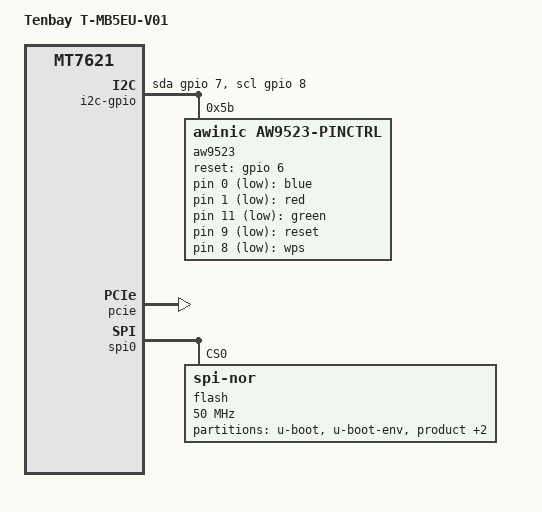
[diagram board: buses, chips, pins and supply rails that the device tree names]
// SPDX-License-Identifier: GPL-2.0-or-later OR MIT

#include "mt7621.dtsi"

#include <dt-bindings/gpio/gpio.h>
#include <dt-bindings/input/input.h>

/ {
	compatible = "tenbay,t-mb5eu-v01", "mediatek,mt7621-soc";
	model = "Tenbay T-MB5EU-V01";

	aliases {
		led-boot = &led_green;
		led-failsafe = &led_red;
		led-running = &led_blue;
		led-upgrade = &led_red;
		label-mac-device = &wan_port;
	};

	chosen {
		bootargs = "console=ttyS0,115200";
		bootargs-override = "console=ttyS0,115200";
	};

	leds {
		compatible = "gpio-leds";
		pinctrl-names = "default";
		pinctrl-0 = <&led_pins>;

		led_blue: blue {
			label = "blue";
			gpios = <&aw9523 0 GPIO_ACTIVE_LOW>;
		};

		led_red: red {
			label = "red";
			gpios = <&aw9523 1 GPIO_ACTIVE_LOW>;
		};

		led_green: green {
			label = "green";
			gpios = <&aw9523 11 GPIO_ACTIVE_LOW>;
		};
	};

	keys {
		compatible = "gpio-keys-polled";
		poll-interval = <50>;
		pinctrl-names = "default";
		pinctrl-0 = <&button_pins>;

		reset {
			label = "reset";
			gpios = <&aw9523 9 GPIO_ACTIVE_LOW>;
			linux,code = <KEY_RESTART>;
		};

		wps {
			label = "wps";
			gpios = <&aw9523 8 GPIO_ACTIVE_LOW>;
			linux,code = <KEY_WPS_BUTTON>;
		};
	};

	i2c-gpio {
		#address-cells = <1>;
		#size-cells = <0>;

		compatible = "i2c-gpio";
		gpios = <&gpio 7 GPIO_ACTIVE_HIGH &gpio 8 GPIO_ACTIVE_HIGH>;
		i2c-gpio,delay-us = <10>;

		aw9523: gpio-expander@5b {
			compatible = "awinic,aw9523-pinctrl";
			reg = <0x5b>;
			gpio-controller;
			#gpio-cells = <2>;
			gpio-ranges = <&aw9523 0 0 16>;

			reset-gpios = <&gpio 6 GPIO_ACTIVE_HIGH>;

			button_pins: button-pins {
				pins = "gpio8", "gpio9";
				function = "gpio";
				bias-pull-up;
				drive-open-drain;
				input-enable;
			};

			led_pins: led-pins {
				pins = "gpio0", "gpio1", "gpio11";
				function = "gpio";
				input-disable;
				output-low;
			};
		};
	};
};

&pcie {
	status = "okay";
};

&pcie1 {
	wifi@0,0 {
		reg = <0x0 0 0 0 0>;
		mediatek,mtd-eeprom = <&factory 0x0>;
	};
};

&gmac0 {
	nvmem-cells = <&macaddr_factory_4>;
	nvmem-cell-names = "mac-address";
};

&switch0 {
	ports {
		wan_port: port@0 {
			status = "okay";
			label = "wan";
			nvmem-cells = <&macaddr_factory_4>;
			nvmem-cell-names = "mac-address";
			mac-address-increment = <(-2)>;
		};

		port@1 {
			status = "okay";
			label = "lan1";
		};

		port@2 {
			status = "okay";
			label = "lan2";
		};

		port@3 {
			status = "okay";
			label = "lan3";
		};

		port@4 {
			status = "okay";
			label = "lan4";
		};
	};
};

&state_default {
	gpio {
		groups = "uart3";
		function = "gpio";
	};
};

&spi0 {
	status = "okay";

	flash@0 {
		compatible = "jedec,spi-nor";
		reg = <0>;
		spi-max-frequency = <50000000>;

		partitions {
			compatible = "fixed-partitions";
			#address-cells = <1>;
			#size-cells = <1>;

			partition@0 {
				label = "u-boot";
				reg = <0x0 0x30000>;
				read-only;
			};

			partition@30000 {
				label = "u-boot-env";
				reg = <0x30000 0x10000>;
				read-only;
			};

			partition@40000 {
				label = "product";
				reg = <0x40000 0x10000>;
				read-only;
			};

			factory: partition@50000 {
				label = "factory";
				reg = <0x50000 0x40000>;
				read-only;
			};

			partition@90000 {
				compatible = "denx,fit";
				label = "firmware";
				reg = <0x90000 0xf70000>;
			};
		};
	};
};

&factory {
	compatible = "nvmem-cells";
	#address-cells = <1>;
	#size-cells = <1>;

	macaddr_factory_4: macaddr@4 {
		reg = <0x4 0x6>;
	};
};
